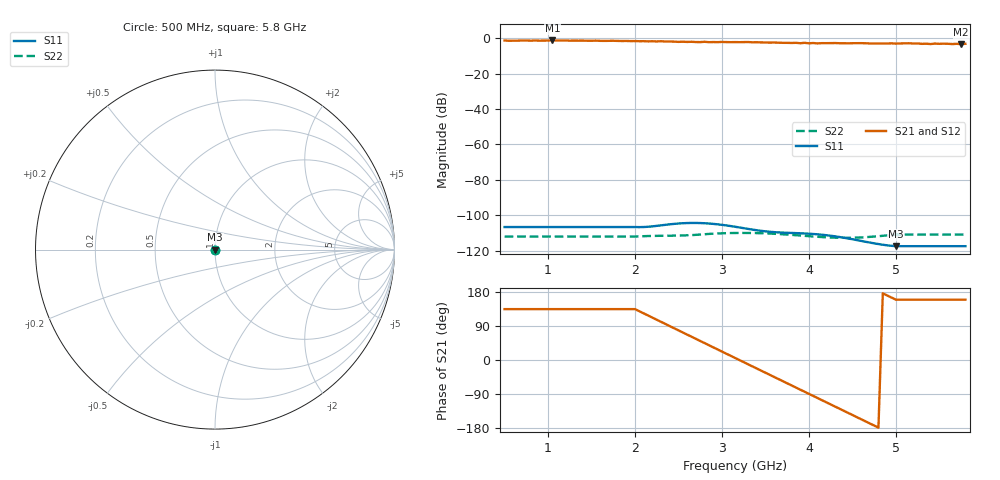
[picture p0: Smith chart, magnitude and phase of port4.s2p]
# GHZ S RI R 50
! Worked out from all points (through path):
!   107 points, 500 MHz to 5.8 GHz, reference 50 ohm
!   highest |S21| = -1.34 dB at 1.05 GHz (marker M1); lowest = -3.5 dB at 5.75 GHz (marker M2)
!   lowest |S11| = -117.5 dB at 5 GHz (marker M3), VSWR 1.00, Z = 50 + j0.000134 ohm
!   |S11| at or under -10 dB: start of sweep to end of sweep
!   |S22| runs from -112.8 to -110.0 dB; largest |S21 - S12| = 0
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0.5  3.79e-06 2.68e-06  -0.5969 0.6123  -0.5969 0.6123  -1.37e-06 -2.09e-06
1.05  3.79e-06 2.68e-06  -0.5984 0.6138  -0.5984 0.6138  -1.37e-06 -2.09e-06
1.4  3.79e-06 2.68e-06  -0.5929 0.6082  -0.5929 0.6082  -1.37e-06 -2.09e-06
2  3.79e-06 2.68e-06  -0.5751 0.59  -0.5751 0.59  -1.37e-06 -2.09e-06
2.2  4.85e-06 -6.89e-08  -0.3031 0.7566  -0.3031 0.7566  -2.29e-06 -1.23e-06
2.3  4.97e-06 -1.44e-06  -0.1504 0.8022  -0.1504 0.8022  -2.54e-06 -6.46e-07
2.45  4.67e-06 -3.26e-06  0.0857 0.7898  0.0857 0.7898  -2.64e-06 2.89e-07
2.65  3.5e-06 -4.93e-06  0.3762 0.6904  0.3762 0.6904  -2.3e-06 1.5e-06
2.9  1.35e-06 -5.53e-06  0.6443 0.4256  0.6443 0.4256  -1.29e-06 2.72e-06
3  4.4e-07 -5.33e-06  0.7203 0.2949  0.7203 0.2949  -6.67e-07 3.01e-06
3.15  -8.35e-07 -4.65e-06  0.7679 0.074  0.7679 0.074  4.39e-07 3.12e-06
3.3  -1.89e-06 -3.65e-06  0.7586 -0.1508  0.7586 -0.1508  1.58e-06 2.73e-06
3.6  -3.08e-06 -1.26e-06  0.5324 -0.5271  0.5324 -0.5271  2.92e-06 6.44e-07
3.85  -3.09e-06 4.65e-07  0.22 -0.7014  0.22 -0.7014  2.35e-06 -1.39e-06
4.05  -2.61e-06 1.38e-06  -0.0617 -0.7233  -0.0617 -0.7233  9.69e-07 -2.31e-06
4.3  -1.72e-06 1.86e-06  -0.3918 -0.6094  -0.3918 -0.6094  -1.04e-06 -2.08e-06
4.55  -8.74e-07 1.79e-06  -0.6259 -0.3524  -0.6259 -0.3524  -2.28e-06 -4.75e-07
4.75  -3.92e-07 1.56e-06  -0.7005 -0.0869  -0.7005 -0.0869  -2.19e-06 1.2e-06
4.95  -1.11e-07 1.36e-06  -0.6848 0.1867  -0.6848 0.1867  -1.1e-06 2.54e-06
5  -6.87e-08 1.34e-06  -0.6526 0.2483  -0.6526 0.2483  -7.04e-07 2.76e-06
5.75  -6.87e-08 1.34e-06  -0.628 0.239  -0.628 0.239  -7.04e-07 2.76e-06
5.8  -6.87e-08 1.34e-06  -0.6454 0.2456  -0.6454 0.2456  -7.04e-07 2.76e-06
